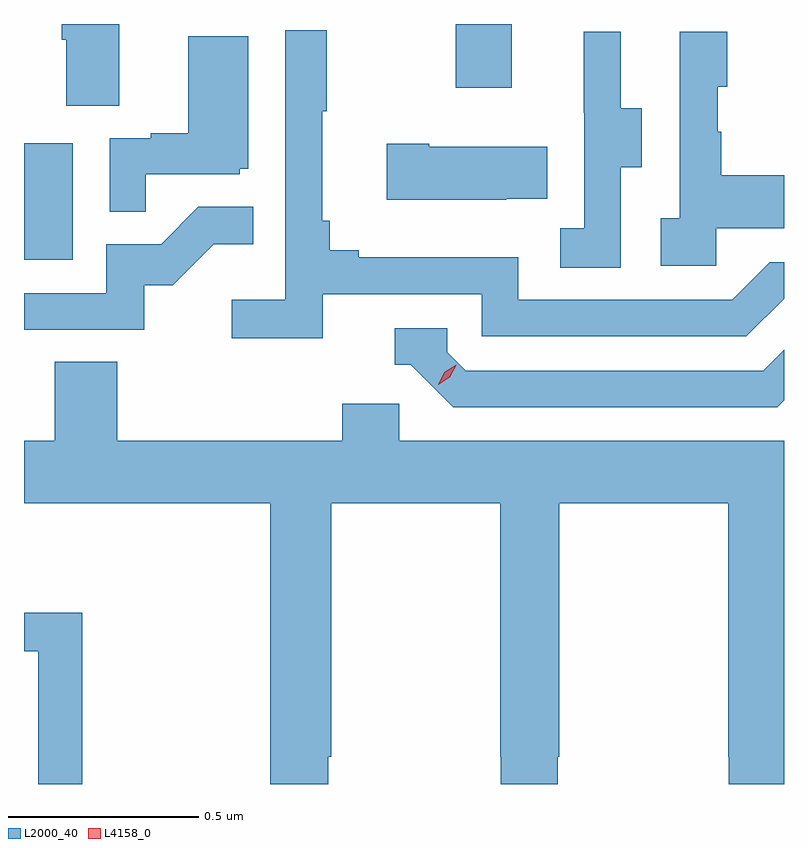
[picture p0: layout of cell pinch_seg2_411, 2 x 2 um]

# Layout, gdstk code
import gdstk
lib = gdstk.Library(unit=1e-6, precision=1e-09)
def R(c, l, rs):  # rectangles x0, y0, x1, y1
    for r in rs: c.add(gdstk.rectangle(r[:2], r[2:], *l))
def P(c, l, *ps):  # polygons
    for p in ps: c.add(gdstk.Polygon(p, *l))
L2000_40 = (2000, 40)
L4158_0 = (4158, 0)

pinch_seg2_411 = lib.new_cell('pinch_seg2_411')
R(pinch_seg2_411, L2000_40, [(981.428,624.3,981.556,624.607), (982.564,624.753,982.711,624.921)])
P(pinch_seg2_411, L2000_40, [(981.679,624.921),(981.527,624.921),(981.527,624.88),(981.539,624.88),(981.539,624.706),(981.679,624.706)],
  [(982.214,624.21),(982.632,624.21),(982.632,624.099),(983.329,624.099),(983.428,624.198),(983.428,624.294),(983.391,624.294),(983.292,624.195),(982.728,624.195),(982.728,624.307),(982.309,624.307),(982.309,624.326),(982.232,624.326),(982.232,624.403),(982.213,624.403),(982.213,624.691),(982.225,624.691),(982.225,624.904),(982.116,624.904),(982.116,624.196),(981.975,624.196),(981.975,624.094),(982.214,624.094)],
  [(983.25,624.383),(983.428,624.383),(983.428,624.523),(983.263,624.523),(983.263,624.638),(983.253,624.638),(983.253,624.756),(983.278,624.756),(983.278,624.901),(983.154,624.901),(983.154,624.41),(983.103,624.41),(983.103,624.285),(983.25,624.285)],
  [(982.998,624.544),(983.053,624.544),(983.053,624.699),(982.999,624.699),(982.999,624.901),(982.901,624.901),(982.901,624.687),(982.902,624.687),(982.902,624.383),(982.839,624.383),(982.839,624.28),(982.998,624.28)],
  [(981.749,624.525),(981.996,624.525),(981.996,624.54),(982.018,624.54),(982.018,624.889),(981.86,624.889),(981.86,624.634),(981.761,624.634),(981.761,624.621),(981.654,624.621),(981.654,624.427),(981.749,624.427)],
  [(982.697,624.461),(982.805,624.461),(982.805,624.598),(982.495,624.598),(982.495,624.606),(982.383,624.606),(982.383,624.458),(982.697,624.458)],
  [(981.744,624.234),(981.82,624.234),(981.927,624.341),(982.031,624.341),(982.031,624.44),(981.887,624.44),(981.789,624.342),(981.645,624.342),(981.645,624.213),(981.428,624.213),(981.428,624.117),(981.744,624.117)],
  [(983.428,623.931),(983.428,624.064),(983.373,624.009),(982.59,624.009),(982.542,624.057),(982.542,624.12),(982.403,624.12),(982.403,624.024),(982.446,624.024),(982.557,623.913),(983.41,623.913)],
  [(982.416,623.922),(982.265,623.922),(982.265,623.824),(981.674,623.824),(981.674,624.032),(981.509,624.032),(981.509,623.824),(981.428,623.824),(981.428,623.66),(982.076,623.66),(982.076,622.921),(982.229,622.921),(982.229,622.993),(982.236,622.993),(982.236,623.66),(982.681,623.66),(982.681,622.993),(982.683,622.993),(982.683,622.921),(982.833,622.921),(982.833,622.993),(982.836,622.993),(982.836,623.66),(983.281,623.66),(983.281,622.993),(983.283,622.993),(983.283,622.921),(983.428,622.921),(983.428,623.824),(982.416,623.824)],
  [(981.581,623.372),(981.428,623.372),(981.428,623.271),(981.465,623.271),(981.465,622.921),(981.581,622.921)])
P(pinch_seg2_411, L4158_0, [(982.518,623.972),(982.518,623.972),(982.534,624.005),(982.565,624.024),(982.565,624.024),(982.565,624.023),(982.549,623.991),(982.518,623.972)])

lib.write_gds('pinch_seg2_411.gds')
